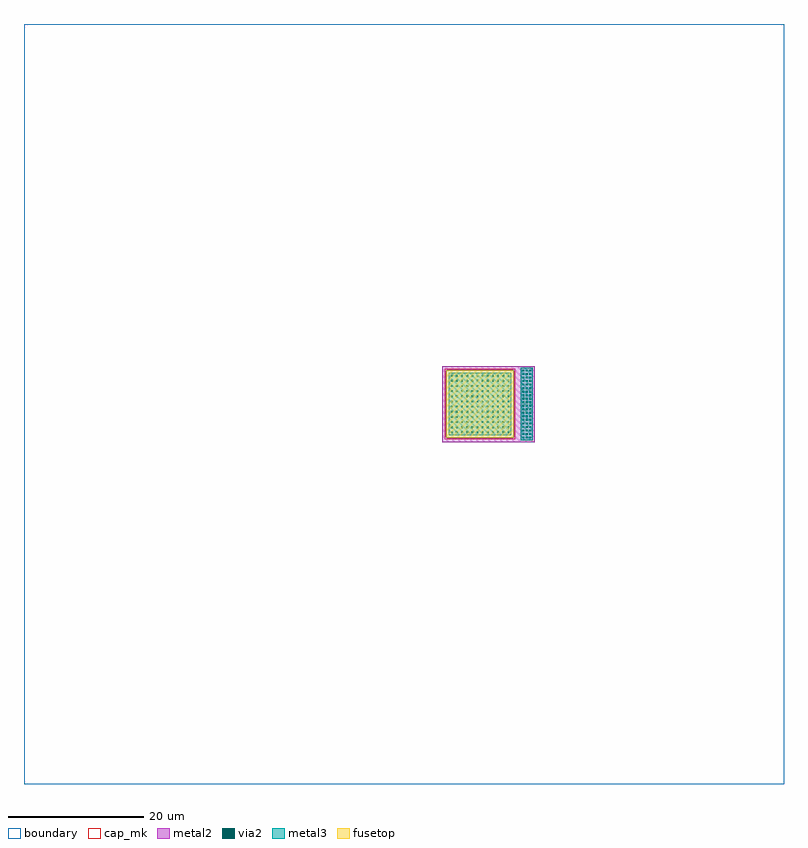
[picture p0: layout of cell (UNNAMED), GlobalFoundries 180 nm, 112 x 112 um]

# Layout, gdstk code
import gdstk
lib = gdstk.Library(unit=1e-6, precision=1e-09)
def R(c, l, rs):  # rectangles x0, y0, x1, y1
    for r in rs: c.add(gdstk.rectangle(r[:2], r[2:], *l))
def A(c, l, x, y, w, h, nx, ny, dx, dy):  # array of equal rectangles
    R(c, l, [(x+i*dx, y+j*dy, x+i*dx+w, y+j*dy+h) for i in range(nx) for j in range(ny)])
boundary = (0, 0)
metal2 = (36, 0)
via2 = (38, 0)
metal3 = (42, 0)
fusetop = (75, 0)
cap_mk = (117, 5)

c__unnamed_ = lib.new_cell('(UNNAMED)')
R(c__unnamed_, boundary, [(-68.45,-56,43.55,56)])
R(c__unnamed_, metal2, [(-6.845,-5.6,6.845,-5), (-6.845,-5,-6.245,5), (3.755,-5,6.845,5), (-6.845,5,6.845,5.6)])
A(c__unnamed_, via2, 4.985, -5.07, 0.26, 0.26, 3, 20, 0.52, 0.52)
A(c__unnamed_, via2, -5.555, -4.31, 0.26, 0.26, 12, 12, 0.76, 0.76)
R(c__unnamed_, metal3, [(4.735,-5.345,6.535,5.345), (-5.845,-4.6,3.355,4.6)])
R(c__unnamed_, fusetop, [(-6.245,-5,3.755,5)])
R(c__unnamed_, cap_mk, [(-6.445,-5.2,3.955,5.2)])

lib.write_gds('_UNNAMED_.gds')
